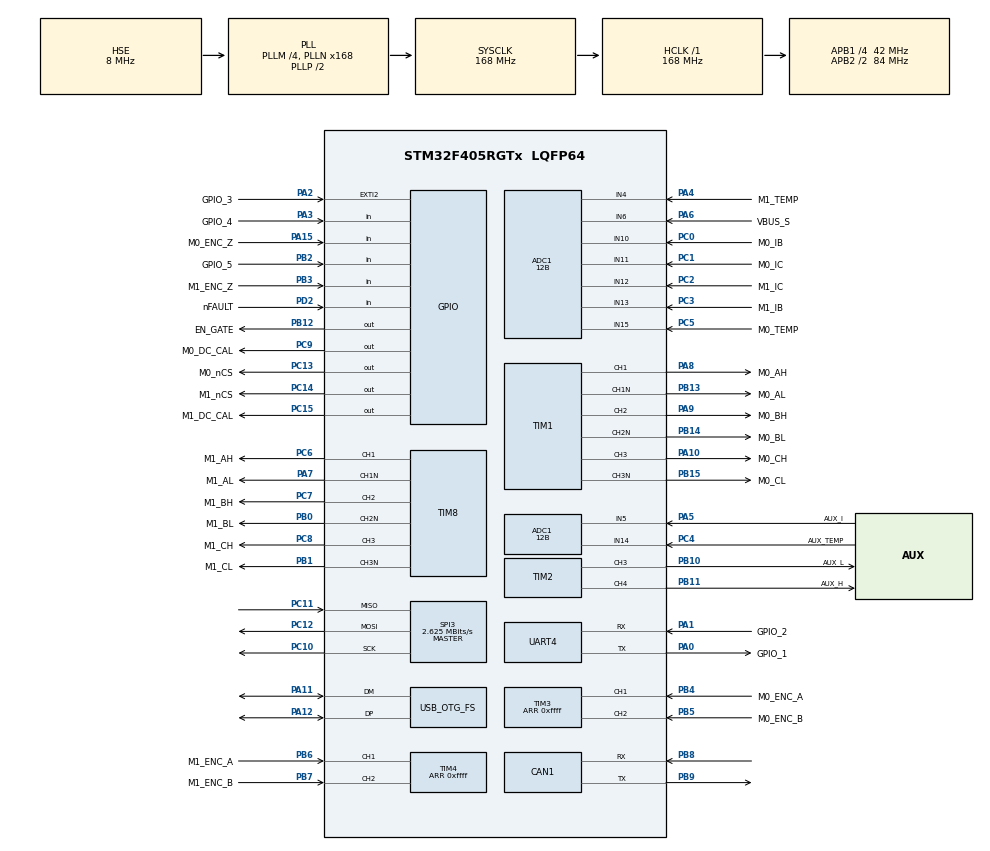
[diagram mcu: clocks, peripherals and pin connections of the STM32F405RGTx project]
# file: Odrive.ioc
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ADC1.Channel-0\#ChannelRegularConversion=ADC_CHANNEL_6
ADC1.Channel-1\#ChannelInjectedConversion=ADC_CHANNEL_6
ADC1.ClockPrescaler=ADC_CLOCK_SYNC_PCLK_DIV4
ADC1.ContinuousConvMode=DISABLE
ADC1.DMAContinuousRequests=DISABLE
ADC1.DataAlign=ADC_DATAALIGN_RIGHT
ADC1.DiscontinuousConvMode=DISABLE
ADC1.EOCSelection=ADC_EOC_SINGLE_CONV
ADC1.EnableAnalogWatchDog=false
ADC1.ExternalTrigConv=ADC_SOFTWARE_START
ADC1.ExternalTrigConvEdge=ADC_EXTERNALTRIGCONVEDGE_NONE
ADC1.ExternalTrigInjecConv=ADC_EXTERNALTRIGINJECCONV_T1_TRGO
ADC1.ExternalTrigInjecConvEdge=ADC_EXTERNALTRIGINJECCONVEDGE_RISING
ADC1.InjNumberOfConversion=1
ADC1.InjectedConvMode=None
ADC1.InjectedOffset-1\#ChannelInjectedConversion=0
ADC1.NbrOfConversion=1
ADC1.NbrOfConversionFlag=1
ADC1.Rank-0\#ChannelRegularConversion=1
ADC1.Rank-1\#ChannelInjectedConversion=1
ADC1.Resolution=ADC_RESOLUTION_12B
ADC1.SamplingTime-0\#ChannelRegularConversion=ADC_SAMPLETIME_3CYCLES
ADC1.SamplingTime-1\#ChannelInjectedConversion=ADC_SAMPLETIME_3CYCLES
ADC1.ScanConvMode=DISABLE
ADC1.master=1
ADC2.Channel-0\#ChannelRegularConversion=ADC_CHANNEL_13
ADC2.Channel-1\#ChannelInjectedConversion=ADC_CHANNEL_10
ADC2.ClockPrescaler=ADC_CLOCK_SYNC_PCLK_DIV4
ADC2.ContinuousConvMode=DISABLE
ADC2.DMAContinuousRequests=DISABLE
ADC2.DataAlign=ADC_DATAALIGN_RIGHT
ADC2.DiscontinuousConvMode=DISABLE
ADC2.EOCSelection=ADC_EOC_SINGLE_CONV
ADC2.EnableAnalogWatchDog=false
ADC2.ExternalTrigConv=ADC_EXTERNALTRIGCONV_T8_TRGO
ADC2.ExternalTrigConvEdge=ADC_EXTERNALTRIGCONVEDGE_RISING
ADC2.ExternalTrigInjecConv=ADC_EXTERNALTRIGINJECCONV_T1_TRGO
ADC2.ExternalTrigInjecConvEdge=ADC_EXTERNALTRIGINJECCONVEDGE_RISING
ADC2.InjNumberOfConversion=1
ADC2.InjectedConvMode=None
ADC2.InjectedOffset-1\#ChannelInjectedConversion=0
ADC2.NbrOfConversion=1
ADC2.NbrOfConversionFlag=1
ADC2.Rank-0\#ChannelRegularConversion=1
ADC2.Rank-1\#ChannelInjectedConversion=1
ADC2.Resolution=ADC_RESOLUTION_12B
ADC2.SamplingTime-0\#ChannelRegularConversion=ADC_SAMPLETIME_3CYCLES
ADC2.SamplingTime-1\#ChannelInjectedConversion=ADC_SAMPLETIME_3CYCLES
ADC2.ScanConvMode=DISABLE
ADC3.Channel-7\#ChannelRegularConversion=ADC_CHANNEL_12
ADC3.Channel-8\#ChannelInjectedConversion=ADC_CHANNEL_11
ADC3.ClockPrescaler=ADC_CLOCK_SYNC_PCLK_DIV4
ADC3.ContinuousConvMode=DISABLE
ADC3.DMAContinuousRequests=DISABLE
ADC3.DataAlign=ADC_DATAALIGN_RIGHT
ADC3.DiscontinuousConvMode=DISABLE
ADC3.EOCSelection=ADC_EOC_SINGLE_CONV
ADC3.EnableAnalogWatchDog=false
ADC3.ExternalTrigConv=ADC_EXTERNALTRIGCONV_T8_TRGO
ADC3.ExternalTrigConvEdge=ADC_EXTERNALTRIGCONVEDGE_RISING
ADC3.ExternalTrigInjecConv=ADC_EXTERNALTRIGINJECCONV_T1_TRGO
ADC3.ExternalTrigInjecConvEdge=ADC_EXTERNALTRIGINJECCONVEDGE_RISING
ADC3.InjNumberOfConversion=1
ADC3.InjectedConvMode=None
ADC3.InjectedOffset-8\#ChannelInjectedConversion=0
ADC3.NbrOfConversion=1
ADC3.NbrOfConversionFlag=1
ADC3.Rank-7\#ChannelRegularConversion=1
ADC3.Rank-8\#ChannelInjectedConversion=1
ADC3.Resolution=ADC_RESOLUTION_12B
ADC3.SamplingTime-7\#ChannelRegularConversion=ADC_SAMPLETIME_3CYCLES
ADC3.SamplingTime-8\#ChannelInjectedConversion=ADC_SAMPLETIME_3CYCLES
ADC3.ScanConvMode=DISABLE
CAN1.BS1=CAN_BS1_1TQ
CAN1.BS2=CAN_BS2_1TQ
CAN1.CalculateTimeBit=1142
CAN1.CalculateTimeQuantum=380.95238095238096
Dma.Request0=UART4_RX
Dma.Request1=UART4_TX
Dma.UART4_RX.0.Direction=DMA_PERIPH_TO_MEMORY
Dma.UART4_RX.0.FIFOMode=DMA_FIFOMODE_DISABLE
Dma.UART4_RX.0.Instance=DMA1_Stream2
Dma.UART4_RX.0.MemDataAlignment=DMA_MDATAALIGN_BYTE
Dma.UART4_RX.0.MemInc=DMA_MINC_ENABLE
Dma.UART4_RX.0.Mode=DMA_CIRCULAR
Dma.UART4_RX.0.PeriphDataAlignment=DMA_PDATAALIGN_BYTE
Dma.UART4_RX.0.PeriphInc=DMA_PINC_DISABLE
Dma.UART4_RX.0.Priority=DMA_PRIORITY_LOW
Dma.UART4_TX.1.Direction=DMA_MEMORY_TO_PERIPH
Dma.UART4_TX.1.FIFOMode=DMA_FIFOMODE_DISABLE
Dma.UART4_TX.1.Instance=DMA1_Stream4
Dma.UART4_TX.1.MemDataAlignment=DMA_MDATAALIGN_BYTE
Dma.UART4_TX.1.MemInc=DMA_MINC_ENABLE
Dma.UART4_TX.1.Mode=DMA_NORMAL
Dma.UART4_TX.1.PeriphDataAlignment=DMA_PDATAALIGN_BYTE
Dma.UART4_TX.1.PeriphInc=DMA_PINC_DISABLE
Dma.UART4_TX.1.Priority=DMA_PRIORITY_LOW
FREERTOS.INCLUDE_vTaskDelayUntil=1
FREERTOS.Tasks01=defaultTask,-3,256,StartDefaultTask,Default
Mcu.Family=STM32F4
Mcu.Name=STM32F405RGTx
Mcu.Package=LQFP64
Mcu.UserConstants=TIM_1_8_CLOCK_HZ,168000000;TIM_1_8_PERIOD_CLOCKS,10192;TIM_1_8_DEADTIME_CLOCKS,20;TIM_APB1_CLOCK_HZ,84000000;TIM_APB1_PERIOD_CLOCKS,4096;TIM_APB1_DEADTIME_CLOCKS,40
NVIC.ADC_IRQn=true\:5\:0\:false\:false\:true\:true\:true
NVIC.DMA1_Stream2_IRQn=true\:5\:0\:false\:false\:true\:true\:true
NVIC.DMA1_Stream4_IRQn=true\:5\:0\:false\:false\:true\:true\:false
NVIC.EXTI2_IRQn=true\:0\:0\:false\:false\:false\:false\:true
NVIC.OTG_FS_IRQn=true\:5\:0\:false\:false\:true\:true\:true
NVIC.PriorityGroup=NVIC_PRIORITYGROUP_4
NVIC.TIM8_TRG_COM_TIM14_IRQn=true\:0\:0\:false\:false\:true\:false\:false
NVIC.TimeBase=TIM8_TRG_COM_TIM14_IRQn
NVIC.TimeBaseIP=TIM14
NVIC.UART4_IRQn=true\:5\:0\:false\:false\:true\:true\:true
PA0-WKUP.GPIO_Label=GPIO_1
PA0-WKUP.GPIO_PuPd=GPIO_PULLDOWN
PA0-WKUP.Signal=SharedStack_PA0
PA0-WKUP.Stacked=true
PA1.GPIO_Label=GPIO_2
PA1.GPIO_PuPd=GPIO_NOPULL
PA1.Signal=SharedStack_PA1
PA1.Stacked=true
PA10.GPIO_Label=M0_CH
PA10.Signal=S_TIM1_CH3
PA11.Mode=Device_Only
PA11.Signal=USB_OTG_FS_DM
PA12.Mode=Device_Only
PA12.Signal=USB_OTG_FS_DP
PA13.Mode=Serial_Wire
PA13.Signal=SYS_JTMS-SWDIO
PA14.Mode=Serial_Wire
PA14.Signal=SYS_JTCK-SWCLK
PA15.GPIO_Label=M0_ENC_Z
PA15.Signal=GPIO_Input
PA2.GPIO_Label=GPIO_3
PA2.GPIO_PuPd=GPIO_PULLDOWN
PA2.Signal=GPXTI2
PA3.GPIO_Label=GPIO_4
PA3.GPIO_PuPd=GPIO_NOPULL
PA3.Signal=GPIO_Input
PA4.GPIO_Label=M1_TEMP
PA4.Signal=ADCx_IN4
PA5.GPIO_Label=AUX_I
PA5.Signal=ADCx_IN5
PA6.GPIO_Label=VBUS_S
PA6.Signal=ADCx_IN6
PA7.GPIO_Label=M1_AL
PA7.Mode=PWM Generation1 CH1 CH1N
PA7.Signal=TIM8_CH1N
PA8.GPIO_Label=M0_AH
PA8.Signal=S_TIM1_CH1
PA9.GPIO_Label=M0_BH
PA9.Signal=S_TIM1_CH2
PB0.GPIO_Label=M1_BL
PB0.Mode=PWM Generation2 CH2 CH2N
PB0.Signal=TIM8_CH2N
PB1.GPIO_Label=M1_CL
PB1.Mode=PWM Generation3 CH3 CH3N
PB1.Signal=TIM8_CH3N
PB10.GPIO_Label=AUX_L
PB10.Signal=S_TIM2_CH3
PB11.GPIO_Label=AUX_H
PB11.Signal=S_TIM2_CH4
PB12.GPIO_Label=EN_GATE
PB12.Signal=GPIO_Output
PB13.GPIO_Label=M0_AL
PB13.Mode=PWM Generation1 CH1 CH1N
PB13.Signal=TIM1_CH1N
PB14.GPIO_Label=M0_BL
PB14.Mode=PWM Generation2 CH2 CH2N
PB14.Signal=TIM1_CH2N
PB15.GPIO_Label=M0_CL
PB15.Mode=PWM Generation3 CH3 CH3N
PB15.Signal=TIM1_CH3N
PB2.GPIO_Label=GPIO_5
PB2.Signal=GPIO_Input
PB3.GPIO_Label=M1_ENC_Z
PB3.Signal=GPIO_Input
PB4.GPIO_Label=M0_ENC_A
PB4.Signal=S_TIM3_CH1
PB5.GPIO_Label=M0_ENC_B
PB5.Signal=S_TIM3_CH2
PB6.GPIO_Label=M1_ENC_A
PB6.Signal=S_TIM4_CH1
PB7.GPIO_Label=M1_ENC_B
PB7.Signal=S_TIM4_CH2
PB8.Mode=Master
PB8.Signal=CAN1_RX
PB9.Mode=Master
PB9.Signal=CAN1_TX
PC0.GPIO_Label=M0_IB
PC0.Signal=ADCx_IN10
PC1.GPIO_Label=M0_IC
PC1.Signal=ADCx_IN11
PC10.Mode=Full_Duplex_Master
PC10.Signal=SPI3_SCK
PC11.Mode=Full_Duplex_Master
PC11.Signal=SPI3_MISO
PC12.Mode=Full_Duplex_Master
PC12.Signal=SPI3_MOSI
PC13-ANTI_TAMP.GPIO_Label=M0_nCS
PC13-ANTI_TAMP.PinState=GPIO_PIN_SET
PC13-ANTI_TAMP.Signal=GPIO_Output
PC14-OSC32_IN.GPIO_Label=M1_nCS
PC14-OSC32_IN.PinState=GPIO_PIN_SET
PC14-OSC32_IN.Signal=GPIO_Output
PC15-OSC32_OUT.GPIO_Label=M1_DC_CAL
PC15-OSC32_OUT.Signal=GPIO_Output
PC2.GPIO_Label=M1_IC
PC2.Signal=ADCx_IN12
PC3.GPIO_Label=M1_IB
PC3.Signal=ADCx_IN13
PC4.GPIO_Label=AUX_TEMP
PC4.Signal=ADCx_IN14
PC5.GPIO_Label=M0_TEMP
PC5.Signal=ADCx_IN15
PC6.GPIO_Label=M1_AH
PC6.Signal=S_TIM8_CH1
PC7.GPIO_Label=M1_BH
PC7.Signal=S_TIM8_CH2
PC8.GPIO_Label=M1_CH
PC8.Signal=S_TIM8_CH3
PC9.GPIO_Label=M0_DC_CAL
PC9.Signal=GPIO_Output
PD2.GPIO_Label=nFAULT
PD2.GPIO_PuPd=GPIO_PULLUP
PD2.Signal=GPIO_Input
PH0-OSC_IN.Mode=HSE-External-Oscillator
PH0-OSC_IN.Signal=RCC_OSC_IN
PH1-OSC_OUT.Mode=HSE-External-Oscillator
PH1-OSC_OUT.Signal=RCC_OSC_OUT
ProjectManager.HeapSize=0x3C00
ProjectManager.StackSize=0x800
ProjectManager.TargetToolchain=SW4STM32
RCC.48MHZClocksFreq_Value=48000000
RCC.AHBFreq_Value=168000000
RCC.APB1CLKDivider=RCC_HCLK_DIV4
RCC.APB1Freq_Value=42000000
RCC.APB1TimFreq_Value=84000000
RCC.APB2CLKDivider=RCC_HCLK_DIV2
RCC.APB2Freq_Value=84000000
RCC.APB2TimCLKDivider=1
RCC.APB2TimFreq_Value=84000000
RCC.CortexFreq_Value=168000000
RCC.HCLKFreq_Value=168000000
RCC.HSE_VALUE=8000000
RCC.HSI_VALUE=16000000
RCC.LSE_VALUE=32768
RCC.PLLM=4
RCC.PLLN=168
RCC.PLLQ=7
RCC.SYSCLKFreq_VALUE=168000000
RCC.SYSCLKSource=RCC_SYSCLKSOURCE_PLLCLK
RCC.VCOOutputFreq_Value=336000000
SH.ADCx_IN10.0=ADC1_IN10,IN10
SH.ADCx_IN10.1=ADC2_IN10,IN10
SH.ADCx_IN10.2=ADC3_IN10,IN10
SH.ADCx_IN11.0=ADC1_IN11,IN11
SH.ADCx_IN11.1=ADC2_IN11,IN11
SH.ADCx_IN11.2=ADC3_IN11,IN11
SH.ADCx_IN12.0=ADC1_IN12,IN12
SH.ADCx_IN12.1=ADC2_IN12,IN12
SH.ADCx_IN12.2=ADC3_IN12,IN12
SH.ADCx_IN13.0=ADC1_IN13,IN13
SH.ADCx_IN13.1=ADC2_IN13,IN13
SH.ADCx_IN13.2=ADC3_IN13,IN13
SH.ADCx_IN14.0=ADC1_IN14,IN14
SH.ADCx_IN14.1=ADC2_IN14,IN14
SH.ADCx_IN15.0=ADC1_IN15,IN15
SH.ADCx_IN15.1=ADC2_IN15,IN15
SH.ADCx_IN4.0=ADC1_IN4,IN4
SH.ADCx_IN4.1=ADC2_IN4,IN4
SH.ADCx_IN5.0=ADC1_IN5,IN5
SH.ADCx_IN5.1=ADC2_IN5,IN5
SH.ADCx_IN6.0=ADC1_IN6,IN6
SH.ADCx_IN6.1=ADC2_IN6,IN6
SH.S_TIM1_CH1.0=TIM1_CH1,PWM Generation1 CH1 CH1N
SH.S_TIM1_CH2.0=TIM1_CH2,PWM Generation2 CH2 CH2N
SH.S_TIM1_CH3.0=TIM1_CH3,PWM Generation3 CH3 CH3N
SH.S_TIM2_CH3.0=TIM2_CH3,PWM Generation3 CH3
SH.S_TIM2_CH4.0=TIM2_CH4,PWM Generation4 CH4
SH.S_TIM3_CH1.0=TIM3_CH1,Encoder_Interface
SH.S_TIM3_CH2.0=TIM3_CH2,Encoder_Interface
SH.S_TIM4_CH1.0=TIM4_CH1,Encoder_Interface
SH.S_TIM4_CH2.0=TIM4_CH2,Encoder_Interface
SH.S_TIM8_CH1.0=TIM8_CH1,PWM Generation1 CH1 CH1N
SH.S_TIM8_CH2.0=TIM8_CH2,PWM Generation2 CH2 CH2N
SH.S_TIM8_CH3.0=TIM8_CH3,PWM Generation3 CH3 CH3N
SH.SharedStack_PA0.0=GPIO_EXTI0+0
SH.SharedStack_PA0.1=UART4_TX,Asynchronous
SH.SharedStack_PA1.0=GPIO_Input+0
SH.SharedStack_PA1.1=UART4_RX,Asynchronous
SPI3.BaudRatePrescaler=SPI_BAUDRATEPRESCALER_16
SPI3.CLKPhase=SPI_PHASE_2EDGE
SPI3.CalculateBaudRate=2.625 MBits/s
SPI3.DataSize=SPI_DATASIZE_16BIT
SPI3.Direction=SPI_DIRECTION_2LINES
SPI3.FirstBit=SPI_FIRSTBIT_MSB
SPI3.Mode=SPI_MODE_MASTER
SPI3.VirtualType=VM_MASTER
TIM1.Channel-Output\ Compare4\ No\ Output=TIM_CHANNEL_4
TIM1.Channel-PWM\ Generation1\ CH1\ CH1N=TIM_CHANNEL_1
TIM1.Channel-PWM\ Generation2\ CH2\ CH2N=TIM_CHANNEL_2
TIM1.Channel-PWM\ Generation3\ CH3\ CH3N=TIM_CHANNEL_3
TIM1.CounterMode=TIM_COUNTERMODE_CENTERALIGNED3
TIM1.DeadTime=TIM_1_8_DEADTIME_CLOCKS
TIM1.OCMode_PWM-PWM\ Generation1\ CH1\ CH1N=TIM_OCMODE_PWM2
TIM1.OCMode_PWM-PWM\ Generation2\ CH2\ CH2N=TIM_OCMODE_PWM2
TIM1.OCMode_PWM-PWM\ Generation3\ CH3\ CH3N=TIM_OCMODE_PWM2
TIM1.OCNPolarity_1=TIM_OCNPOLARITY_HIGH
TIM1.OCNPolarity_2=TIM_OCNPOLARITY_HIGH
TIM1.OCNPolarity_3=TIM_OCNPOLARITY_HIGH
TIM1.OffStateIDLEMode=TIM_OSSI_ENABLE
TIM1.OffStateRunMode=TIM_OSSR_ENABLE
TIM1.Period=TIM_1_8_PERIOD_CLOCKS
TIM1.TIM_MasterOutputTrigger=TIM_TRGO_UPDATE
TIM2.Channel-PWM\ Generation3\ CH3=TIM_CHANNEL_3
TIM2.Channel-PWM\ Generation4\ CH4=TIM_CHANNEL_4
TIM2.CounterMode=TIM_COUNTERMODE_CENTERALIGNED3
TIM2.OCMode_PWM-PWM\ Generation3\ CH3=TIM_OCMODE_PWM2
TIM2.OCMode_PWM-PWM\ Generation4\ CH4=TIM_OCMODE_PWM2
TIM2.OCPolarity_3=TIM_OCPOLARITY_LOW
TIM2.Period=TIM_APB1_PERIOD_CLOCKS
TIM2.Pulse-PWM\ Generation4\ CH4=TIM_APB1_PERIOD_CLOCKS+1
TIM3.EncoderMode=TIM_ENCODERMODE_TI12
TIM3.IC1Filter=4
TIM3.IC1Polarity=TIM_ICPOLARITY_RISING
TIM3.IC2Filter=4
TIM3.IC2Polarity=TIM_ICPOLARITY_RISING
TIM3.Period=0xffff
TIM4.EncoderMode=TIM_ENCODERMODE_TI12
TIM4.IC1Filter=4
TIM4.IC1Polarity=TIM_ICPOLARITY_RISING
TIM4.IC2Filter=4
TIM4.IC2Polarity=TIM_ICPOLARITY_RISING
TIM4.Period=0xffff
TIM8.Channel-Output\ Compare4\ No\ Output=TIM_CHANNEL_4
TIM8.Channel-PWM\ Generation1\ CH1\ CH1N=TIM_CHANNEL_1
TIM8.Channel-PWM\ Generation2\ CH2\ CH2N=TIM_CHANNEL_2
TIM8.Channel-PWM\ Generation3\ CH3\ CH3N=TIM_CHANNEL_3
TIM8.CounterMode=TIM_COUNTERMODE_CENTERALIGNED3
TIM8.DeadTime=TIM_1_8_DEADTIME_CLOCKS
TIM8.OCMode_PWM-PWM\ Generation1\ CH1\ CH1N=TIM_OCMODE_PWM2
TIM8.OCMode_PWM-PWM\ Generation2\ CH2\ CH2N=TIM_OCMODE_PWM2
TIM8.OCMode_PWM-PWM\ Generation3\ CH3\ CH3N=TIM_OCMODE_PWM2
TIM8.OffStateIDLEMode=TIM_OSSI_ENABLE
TIM8.OffStateRunMode=TIM_OSSR_ENABLE
TIM8.Period=TIM_1_8_PERIOD_CLOCKS
TIM8.TIM_MasterOutputTrigger=TIM_TRGO_UPDATE
UART4.VirtualMode=Asynchronous
USB_DEVICE.APP_RX_DATA_SIZE-CDC_FS=64
USB_DEVICE.APP_TX_DATA_SIZE-CDC_FS=64
USB_DEVICE.CLASS_NAME_FS=CDC
USB_DEVICE.MANUFACTURER_STRING-CDC_FS=ODrive Robotics
USB_DEVICE.PID_CDC_FS=0x0D33
USB_DEVICE.PRODUCT_STRING_CDC_FS=ODrive v3.3
USB_DEVICE.SERIALNUMBER_STRING_CDC_FS=000000000001
USB_DEVICE.VID-CDC_FS=0x1209
USB_DEVICE.VirtualMode-CDC_FS=Cdc
USB_DEVICE.VirtualModeFS=Cdc_FS
USB_OTG_FS.VirtualMode=Device_Only
USB_OTG_FS.vbus_sensing_enable=DISABLE
VP_FREERTOS_VS_ENABLE.Mode=Enabled
VP_SYS_VS_tim14.Mode=TIM14
VP_TIM1_VS_ClockSourceINT.Mode=Internal
VP_TIM1_VS_no_output4.Mode=Output Compare4 No Output
VP_USB_DEVICE_VS_USB_DEVICE_CDC_FS.Mode=CDC_FS
board=Odrive

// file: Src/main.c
/**
  ******************************************************************************
  * File Name          : main.c
  * Description        : Main program body
  ******************************************************************************
  * This notice applies to any and all portions of this file
  * that are not between comment pairs USER CODE BEGIN and
  * USER CODE END. Other portions of this file, whether
  * inserted by the user or by software development tools
  * are owned by their respective copyright owners.
  *
  * Copyright (c) 2018 STMicroelectronics International N.V.
  * All rights reserved.
  *
  * Redistribution and use in source and binary forms, with or without
  * modification, are permitted, provided that the following conditions are met:
  *
  * 1. Redistribution of source code must retain the above copyright notice,
  *    this list of conditions and the following disclaimer.
  * 2. Redistributions in binary form must reproduce the above copyright notice,
  *    this list of conditions and the following disclaimer in the documentation
  *    and/or other materials provided with the distribution.
  * 3. Neither the name of STMicroelectronics nor the names of other
  *    contributors to this software may be used to endorse or promote products
  *    derived from this software without specific written permission.
  * 4. This software, including modifications and/or derivative works of this
  *    software, must execute solely and exclusively on microcontroller or
  *    microprocessor devices manufactured by or for STMicroelectronics.
  * 5. Redistribution and use of this software other than as permitted under
  *    this license is void and will automatically terminate your rights under
  *    this license.
  *
  * THIS SOFTWARE IS PROVIDED BY STMICROELECTRONICS AND CONTRIBUTORS "AS IS"
  * AND ANY EXPRESS, IMPLIED OR STATUTORY WARRANTIES, INCLUDING, BUT NOT
  * LIMITED TO, THE IMPLIED WARRANTIES OF MERCHANTABILITY, FITNESS FOR A
  * PARTICULAR PURPOSE AND NON-INFRINGEMENT OF THIRD PARTY INTELLECTUAL PROPERTY
  * RIGHTS ARE DISCLAIMED TO THE FULLEST EXTENT PERMITTED BY LAW. IN NO EVENT
  * SHALL STMICROELECTRONICS OR CONTRIBUTORS BE LIABLE FOR ANY DIRECT, INDIRECT,
  * INCIDENTAL, SPECIAL, EXEMPLARY, OR CONSEQUENTIAL DAMAGES (INCLUDING, BUT NOT
  * LIMITED TO, PROCUREMENT OF SUBSTITUTE GOODS OR SERVICES; LOSS OF USE, DATA,
  * OR PROFITS; OR BUSINESS INTERRUPTION) HOWEVER CAUSED AND ON ANY THEORY OF
  * LIABILITY, WHETHER IN CONTRACT, STRICT LIABILITY, OR TORT (INCLUDING
  * NEGLIGENCE OR OTHERWISE) ARISING IN ANY WAY OUT OF THE USE OF THIS SOFTWARE,
  * EVEN IF ADVISED OF THE POSSIBILITY OF SUCH DAMAGE.
  *
  ******************************************************************************
  */
#include "main.h"
#include "stm32f4xx_hal.h"
#include "cmsis_os.h"
#include "adc.h"
#include "can.h"
#include "dma.h"
#include "spi.h"
#include "tim.h"
#include "usart.h"
#include "usb_device.h"
#include "gpio.h"

/* USER CODE BEGIN PV */
/* Private variables ---------------------------------------------------------*/

/* USER CODE END PV */

void SystemClock_Config(void);
void MX_FREERTOS_Init(void);

/* USER CODE BEGIN PFP */
/* Private function prototypes -----------------------------------------------*/

/* USER CODE END PFP */

int main(void)
{

  /* MCU Configuration----------------------------------------------------------*/

  /* Reset of all peripherals, Initializes the Flash interface and the Systick. */
  HAL_Init();

  /* Configure the system clock */
  SystemClock_Config();

  /* Initialize all configured peripherals */
  MX_GPIO_Init();
  MX_DMA_Init();
  MX_ADC1_Init();
  MX_ADC2_Init();
  MX_CAN1_Init();
  MX_TIM1_Init();
  MX_TIM8_Init();
  MX_TIM3_Init();
  MX_TIM4_Init();
  MX_SPI3_Init();
  MX_ADC3_Init();
  MX_TIM2_Init();
  MX_UART4_Init();

  /* USER CODE BEGIN 2 */

  //Required to use OC4 for ADC triggering.
  OC4_PWM_Override(&htim1);
  OC4_PWM_Override(&htim8);

  /* USER CODE END 2 */

  /* Call init function for freertos objects (in freertos.c) */
  MX_FREERTOS_Init();

  /* Start scheduler */
  osKernelStart();

  /* We should never get here as control is now taken by the scheduler */

  /* Infinite loop */
  while (1)
  {

  }

}

/** System Clock Configuration
*/
void SystemClock_Config(void)
{

  RCC_OscInitTypeDef RCC_OscInitStruct;
  RCC_ClkInitTypeDef RCC_ClkInitStruct;

    /**Configure the main internal regulator output voltage
    */
  __HAL_RCC_PWR_CLK_ENABLE();

  __HAL_PWR_VOLTAGESCALING_CONFIG(PWR_REGULATOR_VOLTAGE_SCALE1);

    /**Initializes the CPU, AHB and APB busses clocks
    */
  RCC_OscInitStruct.OscillatorType = RCC_OSCILLATORTYPE_HSE;
  RCC_OscInitStruct.HSEState = RCC_HSE_ON;
  RCC_OscInitStruct.PLL.PLLState = RCC_PLL_ON;
  RCC_OscInitStruct.PLL.PLLSource = RCC_PLLSOURCE_HSE;
  RCC_OscInitStruct.PLL.PLLM = 4;
  RCC_OscInitStruct.PLL.PLLN = 168;
  RCC_OscInitStruct.PLL.PLLP = RCC_PLLP_DIV2;
  RCC_OscInitStruct.PLL.PLLQ = 7;
  if (HAL_RCC_OscConfig(&RCC_OscInitStruct) != HAL_OK)
  {
    _Error_Handler(__FILE__, __LINE__);
  }

    /**Initializes the CPU, AHB and APB busses clocks
    */
  RCC_ClkInitStruct.ClockType = RCC_CLOCKTYPE_HCLK|RCC_CLOCKTYPE_SYSCLK
                              |RCC_CLOCKTYPE_PCLK1|RCC_CLOCKTYPE_PCLK2;
  RCC_ClkInitStruct.SYSCLKSource = RCC_SYSCLKSOURCE_PLLCLK;
  RCC_ClkInitStruct.AHBCLKDivider = RCC_SYSCLK_DIV1;
  RCC_ClkInitStruct.APB1CLKDivider = RCC_HCLK_DIV4;
  RCC_ClkInitStruct.APB2CLKDivider = RCC_HCLK_DIV2;

  if (HAL_RCC_ClockConfig(&RCC_ClkInitStruct, FLASH_LATENCY_5) != HAL_OK)
  {
    _Error_Handler(__FILE__, __LINE__);
  }

    /**Configure the Systick interrupt time
    */
  HAL_SYSTICK_Config(HAL_RCC_GetHCLKFreq()/1000);

    /**Configure the Systick
    */
  HAL_SYSTICK_CLKSourceConfig(SYSTICK_CLKSOURCE_HCLK);

  /* SysTick_IRQn interrupt configuration */
  HAL_NVIC_SetPriority(SysTick_IRQn, 15, 0);
}

void HAL_TIM_PeriodElapsedCallback(TIM_HandleTypeDef *htim)
{
  if (htim->Instance == TIM14) {
    HAL_IncTick();
  }
}

void _Error_Handler(char * file, int line)
{
  while(1)
  {
  }
}

/************************ (C) COPYRIGHT STMicroelectronics *****END OF FILE****/

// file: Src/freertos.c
/**
  ******************************************************************************
  * File Name          : freertos.c
  * Description        : Code for freertos applications
  ******************************************************************************
  * This notice applies to any and all portions of this file
  * that are not between comment pairs USER CODE BEGIN and
  * USER CODE END. Other portions of this file, whether
  * inserted by the user or by software development tools
  * are owned by their respective copyright owners.
  *
  * Copyright (c) 2017 STMicroelectronics International N.V.
  * All rights reserved.
  *
  * Redistribution and use in source and binary forms, with or without
  * modification, are permitted, provided that the following conditions are met:
  *
  * 1. Redistribution of source code must retain the above copyright notice,
  *    this list of conditions and the following disclaimer.
  * 2. Redistributions in binary form must reproduce the above copyright notice,
  *    this list of conditions and the following disclaimer in the documentation
  *    and/or other materials provided with the distribution.
  * 3. Neither the name of STMicroelectronics nor the names of other
  *    contributors to this software may be used to endorse or promote products
  *    derived from this software without specific written permission.
  * 4. This software, including modifications and/or derivative works of this
  *    software, must execute solely and exclusively on microcontroller or
  *    microprocessor devices manufactured by or for STMicroelectronics.
  * 5. Redistribution and use of this software other than as permitted under
  *    this license is void and will automatically terminate your rights under
  *    this license.
  *
  * THIS SOFTWARE IS PROVIDED BY STMICROELECTRONICS AND CONTRIBUTORS "AS IS"
  * AND ANY EXPRESS, IMPLIED OR STATUTORY WARRANTIES, INCLUDING, BUT NOT
  * LIMITED TO, THE IMPLIED WARRANTIES OF MERCHANTABILITY, FITNESS FOR A
  * PARTICULAR PURPOSE AND NON-INFRINGEMENT OF THIRD PARTY INTELLECTUAL PROPERTY
  * RIGHTS ARE DISCLAIMED TO THE FULLEST EXTENT PERMITTED BY LAW. IN NO EVENT
  * SHALL STMICROELECTRONICS OR CONTRIBUTORS BE LIABLE FOR ANY DIRECT, INDIRECT,
  * INCIDENTAL, SPECIAL, EXEMPLARY, OR CONSEQUENTIAL DAMAGES (INCLUDING, BUT NOT
  * LIMITED TO, PROCUREMENT OF SUBSTITUTE GOODS OR SERVICES; LOSS OF USE, DATA,
  * OR PROFITS; OR BUSINESS INTERRUPTION) HOWEVER CAUSED AND ON ANY THEORY OF
  * LIABILITY, WHETHER IN CONTRACT, STRICT LIABILITY, OR TORT (INCLUDING
  * NEGLIGENCE OR OTHERWISE) ARISING IN ANY WAY OUT OF THE USE OF THIS SOFTWARE,
  * EVEN IF ADVISED OF THE POSSIBILITY OF SUCH DAMAGE.
  *
  ******************************************************************************
  */

#include "FreeRTOS.h"
#include "task.h"
#include "cmsis_os.h"

/* USER CODE BEGIN Includes */
#include "freertos_vars.h"
#include "low_level.h"
#include "axis_c_interface.h"
#include "commands.h"
/* USER CODE END Includes */

osThreadId defaultTaskHandle;

/* USER CODE BEGIN Variables */
// List of semaphores
osSemaphoreId sem_usb_irq;

// List of threads
osThreadId thread_motor_0;
osThreadId thread_motor_1;
osThreadId thread_cmd_parse;
osThreadId thread_as5047p_0;
/* USER CODE END Variables */

void StartDefaultTask(void const * argument);

extern void MX_USB_DEVICE_Init(void);
void MX_FREERTOS_Init(void); /* (MISRA C 2004 rule 8.1) */

/* Hook prototypes */

/* Init FreeRTOS */

void MX_FREERTOS_Init(void) {

  /* USER CODE BEGIN RTOS_SEMAPHORES */
  // Init usb irq binary semaphore, and start with no tokens by removing the starting one.
  osSemaphoreDef(sem_usb_irq);
  sem_usb_irq = osSemaphoreCreate(osSemaphore(sem_usb_irq), 1);
  osSemaphoreWait(sem_usb_irq, 0);

  // Create a semaphore for UART DMA and remove a token
  osSemaphoreDef(sem_uart_dma);
  sem_uart_dma = osSemaphoreCreate(osSemaphore(sem_uart_dma), 1);

  // Create a semaphore for USB RX
  osSemaphoreDef(sem_usb_rx);
  sem_usb_rx = osSemaphoreCreate(osSemaphore(sem_usb_rx), 1);
  osSemaphoreWait(sem_usb_rx, 0);  // Remove a token.

  // Create a semaphore for USB RX
  osSemaphoreDef(sem_usb_tx);
  sem_usb_tx = osSemaphoreCreate(osSemaphore(sem_usb_tx), 1);

  /* USER CODE END RTOS_SEMAPHORES */

  /* Create the thread(s) */
  /* definition and creation of defaultTask */
  osThreadDef(defaultTask, StartDefaultTask, osPriorityIdle, 0, 256);
  defaultTaskHandle = osThreadCreate(osThread(defaultTask), NULL);

}

/* StartDefaultTask function */
void StartDefaultTask(void const * argument)
{
  /* init code for USB_DEVICE */
  MX_USB_DEVICE_Init();

  /* USER CODE BEGIN StartDefaultTask */

  // Init communications
  init_communication();

  // osThreadDef(task_as5047p_0, AS5047P_thread, osPriorityHigh+2, 0, 512);
  // thread_as5047p_0 = osThreadCreate(osThread(task_as5047p_0), &motors[0]);

  // while (1){
    // HAL_GPIO_WritePin(GPIO_3_GPIO_Port, GPIO_3_Pin, GPIO_PIN_SET);
    // osDelay(1000);
    // HAL_GPIO_WritePin(GPIO_3_GPIO_Port, GPIO_3_Pin, GPIO_PIN_RESET);
    // osDelay(1000);
  // }

  // Init motor control
  init_motor_control();

  // Start motor threads
  osThreadDef(task_motor_0, axis_thread_entry,   osPriorityHigh+1, 0, 512);
  osThreadDef(task_motor_1, axis_thread_entry,   osPriorityHigh,   0, 512);
  thread_motor_0 = osThreadCreate(osThread(task_motor_0), &motors[0]);
  thread_motor_1 = osThreadCreate(osThread(task_motor_1), &motors[1]);

  osDelay(200);

  update_init_cnt_value(&motors[0]);
  update_init_cnt_value(&motors[0]);

  osDelay(100);

  // Start command handling thread
  osThreadDef(task_cmd_parse, communication_task, osPriorityNormal, 0, 512);
  thread_cmd_parse = osThreadCreate(osThread(task_cmd_parse), NULL);

  // Start USB interrupt handler thread
  osThreadDef(task_usb_pump, usb_update_thread, osPriorityNormal, 0, 512);
  thread_usb_pump = osThreadCreate(osThread(task_usb_pump), NULL);

  //If we get to here, then the default task is done.
  vTaskDelete(defaultTaskHandle);

  /* USER CODE END StartDefaultTask */
}

/************************ (C) COPYRIGHT STMicroelectronics *****END OF FILE****/
